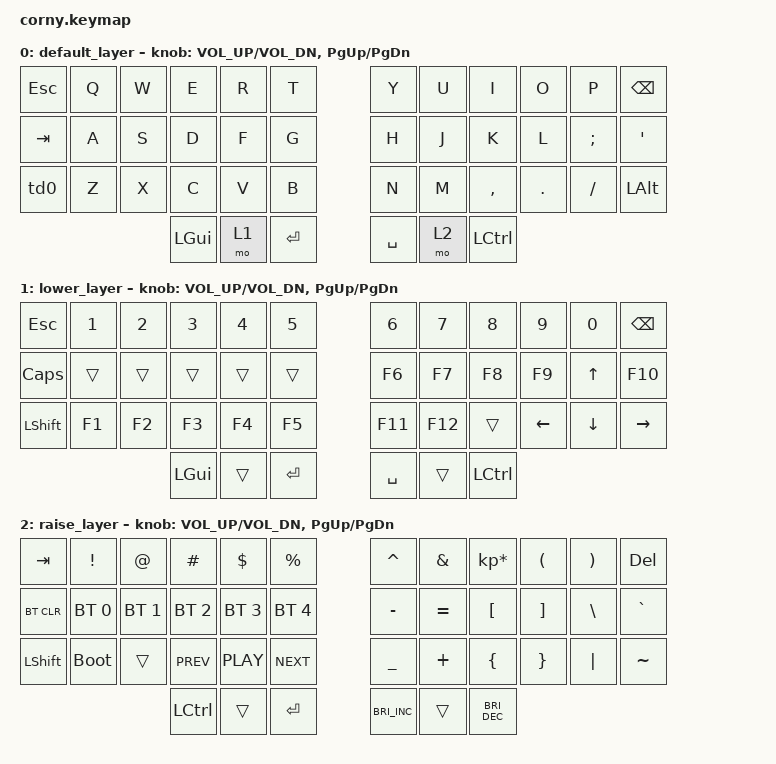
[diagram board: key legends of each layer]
#include <behaviors.dtsi>
#include <dt-bindings/zmk/bt.h>
#include <dt-bindings/zmk/keys.h>

/ {
    behaviors {
        td0: tap_dance_mod_tap {
            compatible = "zmk,behavior-tap-dance";
            label = "TAP_DANCE_MOD_TAP";
            #binding-cells = <0>;
            tapping-term-ms = <200>;
            bindings = <&mt LSHIFT CAPSLOCK>, <&kp LCTRL>, <&caps_word>;
        };
    };

    combos {
        compatible = "zmk,combos";

        soft_off {
            bindings = <&soft_off>;
            key-positions = <0 37>;
        };

        combo_studio_unlock {
            timeout-ms = <50>;
            key-positions = <0 1>;
            bindings = <&studio_unlock>;
        };
    };

    keymap {
        compatible = "zmk,keymap";

        default_layer {
            // -------------------------------------------------------------------------------------------------
            // |  TAB |  Q  |  W  |  E  |  R  |  T  |                    |  Y  |  U   |  I  |  O  |  P  | BKSP |
            // | CTRL |  A  |  S  |  D  |  F  |  G  |                    |  H  |  J   |  K  |  L  |  ;  |  '   |
            // | SHFT |  Z  |  X  |  C  |  V  |  B  |                    |  N  |  M   |  ,  |  .  |  /  | ESC  |
            //                    | GUI | LWR | ENT |                    | SPC | RSE  | ALT |

            bindings = <
&kp ESC  &kp Q  &kp W  &kp E     &kp R  &kp T                  &kp Y      &kp U  &kp I      &kp O    &kp P     &kp BSPC
&kp TAB  &kp A  &kp S  &kp D     &kp F  &kp G                  &kp H      &kp J  &kp K      &kp L    &kp SEMI  &kp SQT
&td0     &kp Z  &kp X  &kp C     &kp V  &kp B                  &kp N      &kp M  &kp COMMA  &kp DOT  &kp FSLH  &kp LALT
                       &kp LGUI  &mo 1  &kp RET                &kp SPACE  &mo 2  &kp LCTRL
            >;

            sensor-bindings = <&inc_dec_kp C_VOL_UP C_VOL_DN &inc_dec_kp PG_UP PG_DN>;
        };

        lower_layer {
            // ------------------------------------------------------------------------------------------------
            // |  TAB |  1  |  2  |  3  |  4  |  5  |                    |  6  |  7  |  8  |  9  |  0  |  DEL |
            // | BTCLR| BT1 | BT2 | BT3 | BT4 | BT5 |                    | F6  |  F7 |  F8 |  F9 |  UP |  F12 |
            // | SHFT | F1  | F2  | F3  | F4  | F5  |                    | F11 | F12 | F8  | LFT | DWN |  RGT |
            //                    | GUI |     | SPC |                    | ENT |     | ALT |

            bindings = <
&kp ESC    &kp N1  &kp N2  &kp N3    &kp N4  &kp N5                   &kp N6   &kp N7   &kp N8     &kp N9    &kp N0    &kp BSPC
&kp CAPS   &trans  &trans  &trans    &trans  &trans                   &kp F6   &kp F7   &kp F8     &kp F9    &kp UP    &kp F10
&kp LSHFT  &kp F1  &kp F2  &kp F3    &kp F4  &kp F5                   &kp F11  &kp F12  &trans     &kp LEFT  &kp DOWN  &kp RIGHT
                           &kp LGUI  &trans  &kp RET                  &kp SPC  &trans   &kp LCTRL
            >;

            sensor-bindings = <&inc_dec_kp C_VOL_UP C_VOL_DN &inc_dec_kp PG_UP PG_DN>;
        };

        raise_layer {
            // ------------------------------------------------------------------------------------------------
            // |  TAB |  !  |  @  |  #  |  $  |  %  |                    |  ^  |  &  |  *  |  (  |  )  | BKSP |
            // | BTCLR| BT0 | BT1 | BT2 | BT3 | BOOT|                    |  -  |  =  |  [  |  ]  |  \  |  `   |
            // | SHFT | BOOT|     | PREV| PLAY| NXT |                    |  _  |  +  |  {  |  }  | "|" |  ~   |
            //                    | MUTE|     | SPC |                    | BRI+|     | BRI-|

            bindings = <
&kp TAB     &kp EXCL      &kp AT        &kp HASH      &kp DLLR      &kp PRCNT                    &kp CARET      &kp AMPS   &kp KP_MULTIPLY  &kp LPAR  &kp RPAR  &kp DEL
&bt BT_CLR  &bt BT_SEL 0  &bt BT_SEL 1  &bt BT_SEL 2  &bt BT_SEL 3  &bt BT_SEL 4                 &kp MINUS      &kp EQUAL  &kp LBKT         &kp RBKT  &kp BSLH  &kp GRAVE
&kp LSHFT   &bootloader   &trans        &kp C_PREV    &kp C_PLAY    &kp C_NEXT                   &kp UNDER      &kp PLUS   &kp LBRC         &kp RBRC  &kp PIPE  &kp TILDE
                                        &kp LCTRL     &trans        &kp RET                      &kp C_BRI_INC  &trans     &kp C_BRI_DEC
            >;

            sensor-bindings = <&inc_dec_kp C_VOL_UP C_VOL_DN &inc_dec_kp PG_UP PG_DN>;
        };
    };
};
